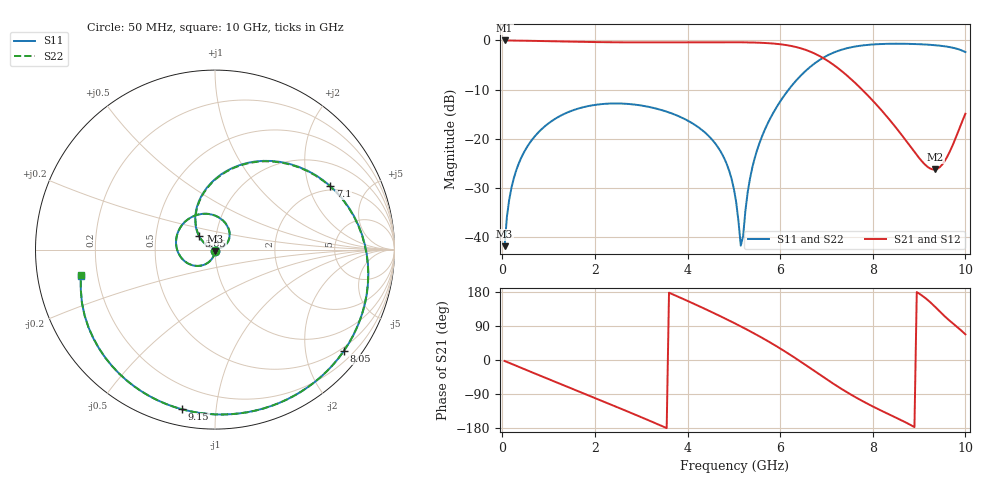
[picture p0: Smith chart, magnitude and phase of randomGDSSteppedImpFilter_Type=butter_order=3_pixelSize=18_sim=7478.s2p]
! freq	dB(S11)	phase(S11)	dB(S12)	phase(S12)
!  dB(S21)	phase(S21)	dB(S22)	phase(S22)
!S-par simulation data
#  GHz  S  DB  R 50
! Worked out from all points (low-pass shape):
!   200 points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, 50 MHz to 10 GHz, reference 50 ohm
!   highest |S21| = 0.00 dB at 50 MHz (marker M1); lowest = -26.2 dB at 9.35 GHz (marker M2)
!   |S21| within 3 dB of the highest: start of sweep to 6.817 GHz
!   lowest |S11| = -41.8 dB at 50 MHz (marker M3), VSWR 1.02, Z = 50 - j0.812 ohm
!   |S11| at or under -10 dB: start of sweep to 6.182 GHz
!   |S22| runs from -41.8 to -0.7 dB; largest |S21 - S12| = 0
!   S11 on the Smith chart (normalised r, x): 50 MHz: 1.00, -0.02; 5.65 GHz: 0.83, +0.13; 7.1 GHz: 1.83, +2.80; 8.05 GHz: 0.42, -2.84; 9.15 GHz: 0.08, -0.81; 10 GHz: 0.14, -0.10
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0.05  -41.80 -92.8  -0.00 -2.6  -0.00 -2.6  -41.80 -92.8
0.2  -29.84 -101.0  -0.02 -10.2  -0.02 -10.2  -29.84 -101.1
0.5  -22.19 -116.5  -0.06 -25.4  -0.06 -25.4  -22.19 -116.5
1.75  -13.56 -178.8  -0.29 -87.9  -0.29 -87.9  -13.56 -179.0
2.5  -12.80 143.8  -0.38 -125.4  -0.38 -125.4  -12.80 143.5
3.4  -14.04 97.7  -0.39 -171.7  -0.39 -171.7  -14.03 97.2
3.95  -16.02 68.6  -0.37 158.7  -0.37 158.7  -16.02 68.0
4.55  -20.37 36.5  -0.36 124.9  -0.36 124.9  -20.36 35.7
4.85  -25.19 22.0  -0.36 107.2  -0.36 107.2  -25.19 21.2
5.05  -32.83 21.1  -0.37 95.0  -0.37 95.0  -32.84 20.0
5.15  -41.69 65.1  -0.37 88.7  -0.37 88.7  -41.83 63.8
5.35  -27.99 152.4  -0.40 75.9  -0.40 75.9  -28.00 151.9
5.65  -18.54 139.5  -0.50 55.8  -0.50 55.8  -18.54 138.8
6.2  -9.78 101.4  -1.05 15.1  -1.05 15.1  -9.78 100.8
6.7  -4.99 61.4  -2.47 -25.7  -2.47 -25.7  -4.99 60.9
7.1  -2.69 28.7  -4.60 -58.7  -4.60 -58.7  -2.69 28.3
7.55  -1.35 -5.3  -8.02 -92.8  -8.02 -92.8  -1.35 -5.7
8.05  -0.79 -38.1  -12.74 -125.6  -12.74 -125.6  -0.78 -38.5
8.35  -0.68 -55.9  -15.97 -143.4  -15.97 -143.4  -0.68 -56.2
9.15  -0.83 -101.6  -25.41 162.1  -25.41 162.1  -0.83 -101.8
9.35  -0.97 -114.0  -26.22 139.8  -26.22 139.8  -0.97 -114.2
10  -2.35 -168.7  -14.89 67.8  -14.89 67.8  -2.37 -169.2
